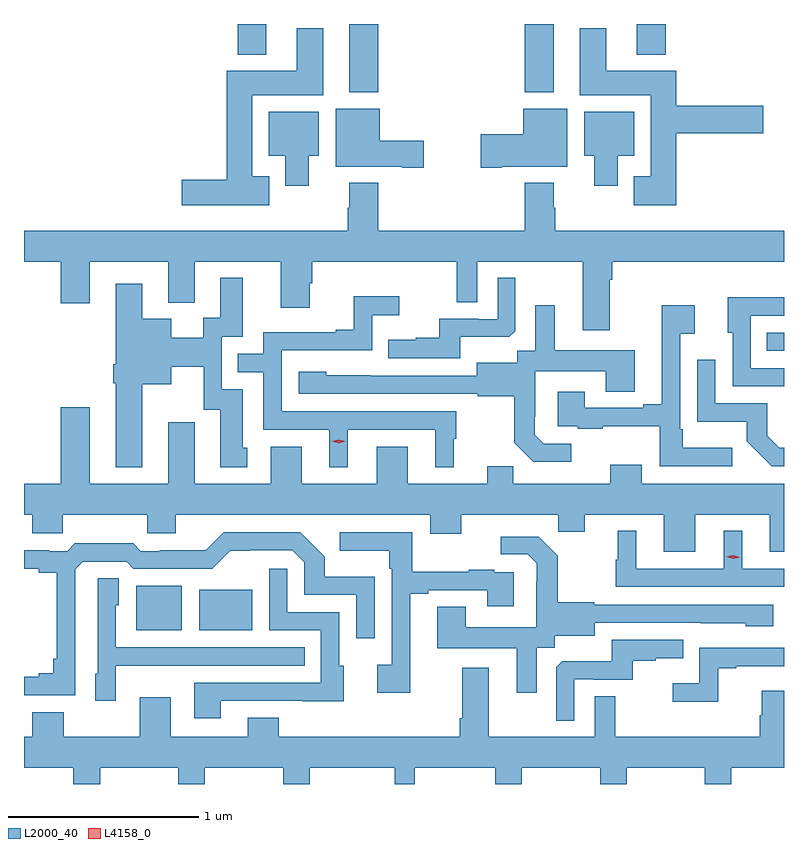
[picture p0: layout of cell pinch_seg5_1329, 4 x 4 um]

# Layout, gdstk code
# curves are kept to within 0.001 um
import gdstk
lib = gdstk.Library(unit=1e-6, precision=1e-09)
def R(c, l, rs):  # rectangles x0, y0, x1, y1
    for r in rs: c.add(gdstk.rectangle(r[:2], r[2:], *l))
def P(c, l, *ps):  # polygons
    for p in ps: c.add(gdstk.Polygon(p, *l))
L2000_40 = (2000, 40)
L4158_0 = (4158, 0)

pinch_seg5_1329 = lib.new_cell('pinch_seg5_1329')
R(pinch_seg5_1329, L2000_40, [(302.291,897.443,302.53,897.679), (302.624,897.443,302.902,897.658), (305.611,898.914,305.701,899.01), (303.413,900.275,303.566,900.635), (304.337,900.275,304.489,900.635), (302.825,900.473,302.977,900.635), (304.925,900.473,305.078,900.635)])
P(pinch_seg5_1329, L2000_40, [(305.135,900.059),(305.593,900.059),(305.593,900.206),(305.135,900.206),(305.135,900.388),(304.765,900.388),(304.765,900.613),(304.625,900.613),(304.625,900.26),(305,900.26),(305,899.833),(304.91,899.833),(304.91,899.681),(305.135,899.681)],
  [(302.992,899.833),(302.902,899.833),(302.902,900.26),(303.277,900.26),(303.277,900.613),(303.137,900.613),(303.137,900.388),(302.768,900.388),(302.768,899.816),(302.532,899.816),(302.532,899.681),(302.992,899.681)],
  [(304.216,899.885),(304.561,899.885),(304.561,900.19),(304.328,900.19),(304.328,900.056),(304.104,900.056),(304.104,899.878),(304.216,899.878)],
  [(303.805,900.02),(303.574,900.02),(303.574,900.19),(303.341,900.19),(303.341,899.885),(303.692,899.885),(303.692,899.878),(303.805,899.878)],
  [(303.199,899.942),(303.253,899.942),(303.253,900.172),(302.99,900.172),(302.99,899.942),(303.077,899.942),(303.077,899.784),(303.199,899.784)],
  [(304.825,899.942),(304.912,899.942),(304.912,900.172),(304.649,900.172),(304.649,899.942),(304.703,899.942),(304.703,899.784),(304.825,899.784)],
  [(304.783,899.288),(304.796,899.288),(304.796,899.384),(305.701,899.384),(305.701,899.548),(304.497,899.548),(304.497,899.669),(304.489,899.669),(304.489,899.8),(304.337,899.8),(304.337,899.548),(303.566,899.548),(303.566,899.8),(303.413,899.8),(303.413,899.669),(303.406,899.669),(303.406,899.548),(301.701,899.548),(301.701,899.384),(301.895,899.384),(301.895,899.166),(302.047,899.166),(302.047,899.384),(302.459,899.384),(302.459,899.168),(302.599,899.168),(302.599,899.384),(303.053,899.384),(303.053,899.142),(303.205,899.142),(303.205,899.271),(303.218,899.271),(303.218,899.384),(303.978,899.384),(303.978,899.17),(304.086,899.17),(304.086,899.384),(304.643,899.384),(304.643,899.022),(304.783,899.022)],
  [(303.997,898.988),(304.255,898.988),(304.287,899.019),(304.287,899.299),(304.194,899.299),(304.194,899.082),(304.094,899.082),(304.094,899.085),(303.887,899.085),(303.887,898.984),(303.763,898.984),(303.763,898.972),(303.619,898.972),(303.619,898.875),(303.997,898.875)],
  [(302.323,898.739),(302.476,898.739),(302.476,898.832),(302.646,898.832),(302.646,898.605),(302.735,898.605),(302.735,898.302),(302.875,898.302),(302.875,898.404),(302.851,898.404),(302.851,898.713),(302.742,898.713),(302.742,898.989),(302.851,898.989),(302.851,899.299),(302.735,899.299),(302.735,899.09),(302.645,899.09),(302.645,898.984),(302.476,898.984),(302.476,899.083),(302.323,899.083),(302.323,899.269),(302.183,899.269),(302.183,898.843),(302.171,898.843),(302.171,898.743),(302.183,898.743),(302.183,898.301),(302.323,898.301)],
  [(303.406,898.5),(303.866,898.5),(303.866,898.301),(303.964,898.301),(303.964,898.452),(303.976,898.452),(303.976,898.596),(303.057,898.596),(303.057,898.917),(303.534,898.917),(303.534,899.102),(303.676,899.102),(303.676,899.201),(303.436,899.201),(303.436,899.026),(303.341,899.026),(303.341,899.013),(302.961,899.013),(302.961,898.899),(302.827,898.899),(302.827,898.803),(302.961,898.803),(302.961,898.5),(303.308,898.5),(303.308,898.301),(303.406,898.301)],
  [(305.701,898.824),(305.526,898.824),(305.526,899.1),(305.701,899.1),(305.701,899.196),(305.623,899.196),(305.623,899.198),(305.405,899.198),(305.405,899.01),(305.43,899.01),(305.43,898.728),(305.701,898.728)],
  [(304.582,898.425),(304.437,898.425),(304.39,898.472),(304.39,898.567),(304.392,898.567),(304.392,898.808),(304.763,898.808),(304.763,898.699),(304.915,898.699),(304.915,898.918),(304.495,898.918),(304.495,899.155),(304.391,899.155),(304.391,898.916),(304.296,898.916),(304.296,898.852),(304.085,898.852),(304.085,898.785),(303.291,898.786),(303.291,898.804),(303.147,898.804),(303.147,898.689),(304.089,898.689),(304.089,898.677),(304.281,898.677),(304.281,898.431),(304.381,898.331),(304.582,898.331)],
  [(305.428,898.405),(305.167,898.405),(305.167,898.501),(305.154,898.501),(305.154,899.006),(305.23,899.006),(305.23,899.155),(305.057,899.155),(305.057,898.633),(304.961,898.633),(304.961,898.614),(304.651,898.614),(304.651,898.699),(304.511,898.699),(304.511,898.518),(304.615,898.518),(304.615,898.506),(304.747,898.506),(304.747,898.517),(305.046,898.517),(305.046,898.308),(305.428,898.308)],
  [(305.701,898.404),(305.676,898.404),(305.613,898.467),(305.613,898.638),(305.34,898.638),(305.34,898.867),(305.244,898.867),(305.244,898.541),(305.506,898.541),(305.506,898.439),(305.636,898.308),(305.701,898.308)],
  [(304.787,898.315),(304.787,898.216),(304.277,898.216),(304.277,898.307),(304.139,898.307),(304.139,898.216),(303.721,898.216),(303.721,898.411),(303.557,898.411),(303.557,898.216),(303.163,898.216),(303.163,898.411),(302.999,898.411),(302.999,898.216),(302.599,898.216),(302.599,898.54),(302.459,898.54),(302.459,898.216),(302.047,898.216),(302.047,898.618),(301.895,898.618),(301.895,898.216),(301.701,898.216),(301.701,898.052),(301.745,898.052),(301.745,897.954),(301.905,897.954),(301.905,898.052),(302.35,898.052),(302.35,897.954),(302.5,897.954),(302.5,898.052),(303.839,898.052),(303.839,897.953),(304.003,897.953),(304.003,898.052),(304.513,898.052),(304.513,897.962),(304.651,897.962),(304.651,898.052),(305.069,898.052),(305.069,897.858),(305.233,897.858),(305.233,898.052),(305.627,898.052),(305.627,897.858),(305.701,897.858),(305.701,898.216),(304.951,898.216),(304.951,898.315)],
  [(305.701,897.768),(305.482,897.768),(305.482,897.967),(305.384,897.967),(305.384,897.768),(304.924,897.768),(304.924,897.967),(304.826,897.967),(304.826,897.816),(304.815,897.816),(304.815,897.672),(305.701,897.672)],
  [(303.733,897.636),(303.829,897.636),(303.829,897.654),(304.139,897.654),(304.139,897.57),(304.279,897.57),(304.279,897.75),(304.175,897.75),(304.175,897.763),(304.043,897.763),(304.043,897.752),(303.745,897.752),(303.745,897.96),(303.363,897.96),(303.363,897.863),(303.624,897.863),(303.624,897.767),(303.636,897.767),(303.636,897.262),(303.561,897.262),(303.561,897.114),(303.733,897.114)],
  [(301.971,897.765),(302.01,897.804),(302.241,897.804),(302.277,897.768),(302.691,897.768),(302.786,897.863),(303.114,897.864),(303.177,897.801),(303.177,897.63),(303.45,897.63),(303.45,897.402),(303.546,897.402),(303.546,897.727),(303.285,897.727),(303.285,897.83),(303.154,897.96),(302.751,897.96),(302.657,897.866),(302.416,897.866),(302.416,897.861),(302.316,897.861),(302.277,897.901),(301.969,897.901),(301.929,897.861),(301.835,897.861),(301.835,897.866),(301.701,897.866),(301.701,897.768),(301.778,897.768),(301.778,897.746),(301.874,897.746),(301.874,897.295),(301.855,897.295),(301.855,897.218),(301.778,897.218),(301.778,897.199),(301.701,897.199),(301.701,897.102),(301.971,897.102)],
  [(304.399,897.352),(304.494,897.352),(304.494,897.416),(304.705,897.416),(304.705,897.483),(305.499,897.482),(305.499,897.464),(305.644,897.464),(305.644,897.579),(304.701,897.579),(304.701,897.592),(304.509,897.592),(304.509,897.837),(304.409,897.937),(304.209,897.937),(304.209,897.843),(304.353,897.843),(304.4,897.796),(304.4,897.701),(304.398,897.701),(304.398,897.46),(304.027,897.46),(304.027,897.569),(303.875,897.569),(303.875,897.35),(304.295,897.35),(304.295,897.114),(304.399,897.114)],
  [(302.737,897.072),(303.167,897.072),(303.167,897.071),(303.385,897.071),(303.385,897.258),(303.36,897.258),(303.36,897.54),(303.087,897.54),(303.087,897.769),(302.991,897.769),(302.991,897.444),(303.264,897.444),(303.264,897.168),(302.597,897.168),(302.597,896.982),(302.737,896.982)],
  [(302.184,897.257),(302.501,897.257),(302.501,897.258),(303.179,897.258),(303.179,897.354),(302.184,897.354),(302.184,897.576),(302.2,897.576),(302.2,897.719),(302.088,897.719),(302.088,897.216),(302.075,897.216),(302.075,897.072),(302.184,897.072)],
  [(304.596,897.186),(304.696,897.186),(304.696,897.183),(304.904,897.183),(304.904,897.285),(305.027,897.285),(305.027,897.296),(305.171,897.296),(305.171,897.393),(304.794,897.393),(304.794,897.281),(304.535,897.281),(304.503,897.249),(304.503,896.969),(304.596,896.969)],
  [(305.355,897.243),(305.449,897.243),(305.449,897.255),(305.701,897.255),(305.701,897.351),(305.256,897.351),(305.256,897.166),(305.115,897.166),(305.115,897.068),(305.355,897.068)],
  [(303.043,896.983),(302.879,896.983),(302.879,896.884),(302.473,896.884),(302.473,897.091),(302.309,897.091),(302.309,896.884),(301.909,896.884),(301.909,897.013),(301.745,897.013),(301.745,896.884),(301.701,896.884),(301.701,896.72),(301.961,896.72),(301.961,896.635),(302.101,896.635),(302.101,896.72),(302.513,896.72),(302.513,896.635),(302.653,896.635),(302.653,896.72),(303.065,896.72),(303.065,896.635),(303.204,896.635),(303.204,896.72),(303.653,896.72),(303.653,896.635),(303.757,896.635),(303.757,896.72),(304.181,896.72),(304.181,896.635),(304.321,896.635),(304.321,896.72),(304.733,896.72),(304.733,896.635),(304.873,896.635),(304.873,896.72),(305.285,896.72),(305.285,896.635),(305.424,896.635),(305.424,896.72),(305.701,896.72),(305.701,897.127),(305.585,897.127),(305.585,896.997),(305.573,896.997),(305.573,896.884),(304.813,896.884),(304.813,897.098),(304.704,897.098),(304.704,896.884),(304.147,896.884),(304.147,897.247),(304.007,897.247),(304.007,896.98),(303.995,896.98),(303.995,896.884),(303.043,896.884)])
P(pinch_seg5_1329, L4158_0, [(305.433,897.82),(305.397,897.83),(305.397,897.83),(305.397,897.83),(305.433,897.839),(305.469,897.829),(305.469,897.829),(305.469,897.829)],
  [(303.357,898.428),(303.321,898.438),(303.321,898.438),(303.321,898.438),(303.357,898.448),(303.393,898.438),(303.393,898.438),(303.393,898.438)])

lib.write_gds('pinch_seg5_1329.gds')
